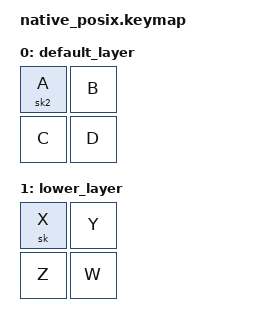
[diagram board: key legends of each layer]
#include <dt-bindings/zmk/keys.h>
#include <behaviors.dtsi>
#include <dt-bindings/zmk/kscan_mock.h>

/ {
	keymap {
		compatible = "zmk,keymap";
		label ="Default keymap";

		default_layer {
			bindings = <
				&sk2 A &kp B
				&kp C &kp D>;
		};

		lower_layer {
			bindings = <
				&sk X &kp Y
				&kp Z &kp W>;
		};
	};
	behaviors {
		sk2: sk2 {
			compatible = "zmk,behavior-sticky-key";
			label = "STICKY_KEY x2";
			#binding-cells = <1>;
			release-after-ms = <1000>;
			count = <2>;
			bindings = <&kp>;
		};
	};
};

&kscan {
	events = <
		ZMK_MOCK_PRESS(0,0,10) 
		ZMK_MOCK_RELEASE(0,0,10)
		
		ZMK_MOCK_PRESS(0,1,10)
		ZMK_MOCK_RELEASE(0,1,10)

		ZMK_MOCK_PRESS(1,0,10)
		ZMK_MOCK_RELEASE(1,0,10)

		ZMK_MOCK_PRESS(1,1,10)
		ZMK_MOCK_RELEASE(1,1,10)
	>;
};
